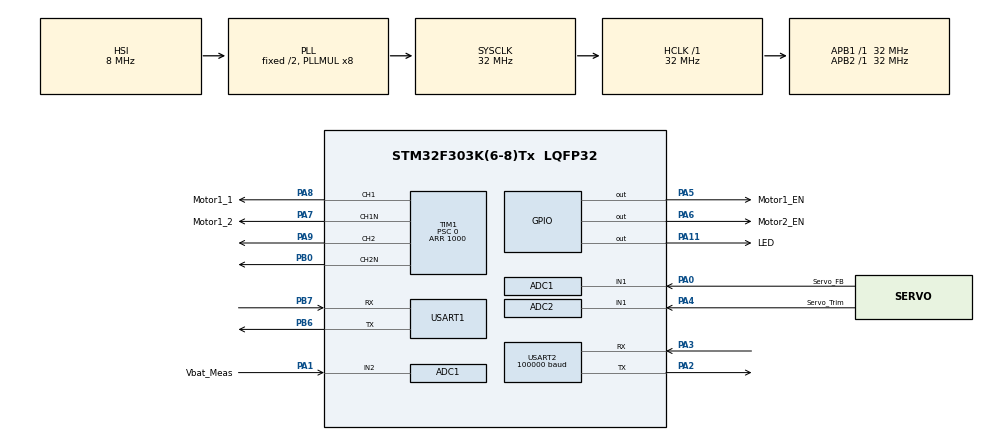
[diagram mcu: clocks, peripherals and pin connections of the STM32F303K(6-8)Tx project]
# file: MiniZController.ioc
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Mcu.Family=STM32F3
NVIC.ADC1_2_IRQn=true\:0\:0\:false\:false\:true\:true\:true
ADC2.ExternalTrigConv=ADC_EXTERNALTRIGCONV_T3_TRGO
RCC.CortexFreq_Value=32000000
TIM1.OCIdleState_1=TIM_OCIDLESTATE_RESET
USART2.RxPinLevelInvertParam=ADVFEATURE_RXINV_ENABLE
ADC1.ContinuousConvMode=DISABLE
ADC2.Channel-0\#ChannelRegularConversion=ADC_CHANNEL_1
USART2.Parity=PARITY_EVEN
RCC.SYSCLKSourceVirtual=RCC_SYSCLKSOURCE_PLLCLK
PA0.GPIO_Label=Servo_FB
PA6.GPIO_Label=Motor2_EN
ProjectManager.StackSize=0x400
TIM1.Pulse-PWM\ Generation2\ CH2\ CH2N=250
TIM1.Prescaler=0
PA4.Mode=IN1-Single-Ended
ADC2.DMAContinuousRequests=ENABLE
ADC1.Channel-3\#ChannelRegularConversion=ADC_CHANNEL_2
RCC.HCLKFreq_Value=32000000
RCC.APB2TimFreq_Value=32000000
TIM3.Period=1000
PB6.Signal=USART1_TX
Dma.ADC1.0.Direction=DMA_PERIPH_TO_MEMORY
ADC1.Channel-2\#ChannelRegularConversion=ADC_CHANNEL_1
PB6.Mode=Asynchronous
ADC1.SubFamily=STM32F303x8
ADC1.Offset-3\#ChannelRegularConversion=0
Dma.ADC1.0.MemDataAlignment=DMA_MDATAALIGN_WORD
RCC.AHBFreq_Value=32000000
RCC.HSE_VALUE=8000000
USART2.VirtualMode-Asynchronous=VM_ASYNC
RCC.PLLMUL=RCC_PLL_MUL8
Dma.ADC2.1.Instance=DMA1_Channel2
ADC1.Rank-2\#ChannelRegularConversion=1
PA14.Mode=Serial_Wire
TIM3.Prescaler=31
Dma.ADC1.0.PeriphInc=DMA_PINC_DISABLE
PA0.Mode=IN1-Single-Ended
PB7.Signal=USART1_RX
PA8.Signal=S_TIM1_CH1
Dma.ADC2.1.PeriphInc=DMA_PINC_DISABLE
ADC1.SamplingTimeOPAMP-3\#ChannelRegularConversion=ADC_SAMPLETIME_19CYCLES_5
VP_TIM1_VS_ClockSourceINT.Mode=Internal
PA0.Signal=ADC1_IN1
Mcu.Package=LQFP32
PA6.Signal=GPIO_Output
ADC2.Offset-0\#ChannelRegularConversion=0
ADC2.SamplingTime-0\#ChannelRegularConversion=ADC_SAMPLETIME_7CYCLES_5
USART2.WordLength=WORDLENGTH_9B
ADC2.SubFamily=STM32F303x8
TIM16.AutoReloadPreload=TIM_AUTORELOAD_PRELOAD_ENABLE
Dma.Request1=ADC2
RCC.APB1TimFreq_Value=32000000
TIM1.Period=1000
TIM16.Prescaler=31
ADC2.Rank-0\#ChannelRegularConversion=1
Dma.Request0=ADC1
PA4.GPIO_Label=Servo_Trim
Dma.ADC2.1.PeriphDataAlignment=DMA_PDATAALIGN_HALFWORD
VP_TIM3_VS_ClockSourceINT.Mode=Internal
PA3.Signal=USART2_RX
USART2.OverrunDisableParam=ADVFEATURE_OVERRUN_DISABLE
ADC2.SamplingTimeOPAMP-0\#ChannelRegularConversion=ADC_SAMPLETIME_4CYCLES_5
Dma.ADC1.0.Instance=DMA1_Channel1
PA7.Mode=PWM Generation1 CH1 CH1N
USART2.DMADisableonRxErrorParam=ADVFEATURE_DMA_DISABLEONRXERROR
ADC1.OffsetNumber-3\#ChannelRegularConversion=ADC_OFFSET_NONE
PA11.GPIO_Label=LED
VP_TIM16_VS_ClockSourceINT.Mode=Enable_Timer
TIM1.Channel-PWM\ Generation1\ CH1\ CH1N=TIM_CHANNEL_1
NVIC.USART2_IRQn=true\:0\:0\:false\:false\:true\:true\:true
USART2.BaudRate=100000
ADC1.SamplingTime-2\#ChannelRegularConversion=ADC_SAMPLETIME_7CYCLES_5
USART1.VirtualMode-Asynchronous=VM_ASYNC
PA13.Signal=SYS_JTMS-SWDIO
PA3.Mode=Asynchronous
TIM1.Channel-PWM\ Generation2\ CH2\ CH2N=TIM_CHANNEL_2
Dma.ADC1.0.PeriphDataAlignment=DMA_PDATAALIGN_HALFWORD
PA8.GPIO_Label=Motor1_1
SH.S_TIM1_CH1.0=TIM1_CH1,PWM Generation1 CH1 CH1N
NVIC.DMA1_Channel2_IRQn=true\:0\:0\:false\:false\:true\:false\:true
ProjectManager.TargetToolchain=STM32CubeIDE
Dma.ADC1.0.Mode=DMA_CIRCULAR
Dma.ADC1.0.Priority=DMA_PRIORITY_LOW
PA9.Signal=S_TIM1_CH2
ADC1.Offset-2\#ChannelRegularConversion=0
Dma.ADC2.1.Mode=DMA_CIRCULAR
PA1.Signal=ADC1_IN2
TIM3.Channel-PWM\ Generation1\ No\ Output=TIM_CHANNEL_1
PA5.Signal=GPIO_Output
TIM3.Pulse-PWM\ Generation1\ No\ Output=500
ADC2.OffsetNumber-0\#ChannelRegularConversion=ADC_OFFSET_NONE
PB0.Mode=PWM Generation2 CH2 CH2N
board=custom
VP_TIM3_VS_no_output1.Mode=PWM Generation1 No Output
NVIC.TIM3_IRQn=true\:0\:0\:false\:false\:true\:true\:true
TIM1.OCNIdleState_1=TIM_OCNIDLESTATE_SET
TIM16.Period=1000
RCC.APB2Freq_Value=32000000
PA1.Mode=IN2-Single-Ended
USART2.StopBits=STOPBITS_2
SH.S_TIM1_CH2.0=TIM1_CH2,PWM Generation2 CH2 CH2N
PA1.GPIO_Label=Vbat_Meas
ADC1.DMAContinuousRequests=ENABLE
Dma.ADC2.1.MemInc=DMA_MINC_ENABLE
ADC1.NbrOfConversion=2
ADC1.OffsetNumber-2\#ChannelRegularConversion=ADC_OFFSET_NONE
PA13.Mode=Serial_Wire
Mcu.Name=STM32F303K(6-8)Tx
PA2.Signal=USART2_TX
ADC1.ExternalTrigConv=ADC_EXTERNALTRIGCONV_T3_TRGO
PA4.Signal=ADC2_IN1
RCC.SYSCLKFreq_VALUE=32000000
Dma.ADC2.1.Direction=DMA_PERIPH_TO_MEMORY
PA7.GPIO_Label=Motor1_2
ADC1.master=1
PA5.GPIO_Label=Motor1_EN
ADC1.Rank-3\#ChannelRegularConversion=2
ADC1.SamplingTime-3\#ChannelRegularConversion=ADC_SAMPLETIME_7CYCLES_5
ADC2.NbrOfConversionFlag=1
PB7.Mode=Asynchronous
PA11.Signal=GPIO_Output
PA14.Signal=SYS_JTCK-SWCLK
Dma.ADC1.0.MemInc=DMA_MINC_ENABLE
ProjectManager.HeapSize=0x200
RCC.HSI_VALUE=8000000
NVIC.TIM1_UP_TIM16_IRQn=true\:0\:0\:false\:false\:true\:true\:true
NVIC.PriorityGroup=NVIC_PRIORITYGROUP_4
ADC1.NbrOfConversionFlag=1
Dma.ADC2.1.MemDataAlignment=DMA_MDATAALIGN_WORD
PA2.Mode=Asynchronous
Dma.ADC2.1.Priority=DMA_PRIORITY_LOW
NVIC.DMA1_Channel1_IRQn=true\:0\:0\:false\:false\:true\:false\:true
TIM3.TIM_MasterOutputTrigger=TIM_TRGO_UPDATE
RCC.APB1Freq_Value=32000000
USART2.Mode=MODE_RX
PB0.Signal=TIM1_CH2N
PA7.Signal=TIM1_CH1N

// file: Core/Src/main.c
/* USER CODE BEGIN Header */
/**
  ******************************************************************************
  * @file           : main.c
  * @brief          : Main program body
  ******************************************************************************
  * @attention
  *
  * <h2><center>&copy; Copyright (c) 2021 STMicroelectronics.
  * All rights reserved.</center></h2>
  *
  * This software component is licensed by ST under BSD 3-Clause license,
  * the "License"; You may not use this file except in compliance with the
  * License. You may obtain a copy of the License at:
  *                        opensource.org/licenses/BSD-3-Clause
  *
  ******************************************************************************
  */
/* USER CODE END Header */
#include "main.h"

/* USER CODE BEGIN Includes */
#include <sbus.h>
/* USER CODE END Includes */

/* USER CODE BEGIN PD */
#define VBAT_GAIN 0.008864f
#define MIN_CHANNEL_VALUE 500
#define MAX_CHANNEL_VALUE 2500
#define MAX_SERVO_SPEED_GAIN 0.5f	//between 0 and 1
#define MAX_MOTOR_SPEED_GAIN 0.75f	//between 0 and 1
#define MOTOR_OUT_DEADBAND 50 //Perthousand ==> If output value is in this region, deactivate for freewheeling
#define MOTOR_REVERSE

#define SERVO_KP 8.0f
#define SERVO_KI 0.00f
#define SERVO_KD 0.0f
#define SERVO_ITERM_CAPVALUE 3000.0f
#define SERVO_LOOPDURATION 0.001f //seconds
#define DIR_TRIM_BAND 200.0f
#define MIN_SERVO_VALUE 1750	//According to Min an Max values feedback ADC Can capture ==> Set channel to this range to avoid multiple conversions.
#define MAX_SERVO_VALUE 2500	//Ensure margin is enough to accomodate TrimGain

#define THROTTLE_NEUTRAL_VALUE 1200
#define THROTTLE_DEADBAND 100
#define THROTTLE_REVERSE_DELAY	1500 //ms

/* USER CODE END PD */

ADC_HandleTypeDef hadc1;
ADC_HandleTypeDef hadc2;
DMA_HandleTypeDef hdma_adc1;
DMA_HandleTypeDef hdma_adc2;

TIM_HandleTypeDef htim1;
TIM_HandleTypeDef htim3;
TIM_HandleTypeDef htim16;

UART_HandleTypeDef huart1;
UART_HandleTypeDef huart2;

/* USER CODE BEGIN PV */
uint32_t analogCapture1[2] = {0,0};
uint32_t analogCapture2[2] = {0,0};
float Servo_Feedback;
uint32_t Servo_Trim;
float BatteryVoltage=0.0;
uint32_t ServoSpeed=0;
uint8_t ServoDir=0;
uint8_t ServoEnable=0;

uint8_t gSBUSByte;
struct sbuschannels gSBUSChannels;
uint8_t FailSafe = 1;

uint8_t UpdateOutput = 0;

uint8_t FirstLoop = 1;
uint32_t ServoValue = 2000;
uint32_t Throttle = 0;
uint32_t Direction = 2000;
uint32_t MainMotorSpeed=0;
uint32_t MainMotorDir=0;
float dirTrimGain;
int32_t BrakeTimeout = -1;

/* USER CODE END PV */

void SystemClock_Config(void);
static void MX_GPIO_Init(void);
static void MX_DMA_Init(void);
static void MX_ADC1_Init(void);
static void MX_TIM1_Init(void);
static void MX_USART1_UART_Init(void);
static void MX_USART2_UART_Init(void);
static void MX_ADC2_Init(void);
static void MX_TIM3_Init(void);
static void MX_TIM16_Init(void);
/* USER CODE BEGIN PFP */

#ifdef __GNUC__
	#define PUTCHAR_PROTOTYPE int __io_putchar(int ch)
#else
	#define PUTCHAR_PROTOTYPE int fputc(int ch, FILE *f)
#endif

PUTCHAR_PROTOTYPE
{
	HAL_UART_Transmit(&huart2, (uint8_t *)&ch, 1, 0xFFFF);
}

void HAL_UART_RxCpltCallback(UART_HandleTypeDef *huart)
{
	if (huart == &huart2)
		{
			// Reset timeout
			__HAL_TIM_SET_COUNTER(&htim16, 0);

			// Add received byte to sbus FIFO
			SBUS_AddByte(gSBUSByte);

			// Available sbus frame ?

			if (SBUS_GetChannel(&gSBUSChannels) == FRAME_COMPLETE)
			{
				HAL_GPIO_WritePin(LED_GPIO_Port, LED_Pin, 1);
				Throttle = (int16_t)SBUS_NormalizeChannel(gSBUSChannels.Channel_2, MIN_CHANNEL_VALUE, MAX_CHANNEL_VALUE);
				Direction = (int16_t)SBUS_NormalizeChannel(gSBUSChannels.Channel_3, MIN_SERVO_VALUE, MAX_SERVO_VALUE);
				FailSafe = 0;
			}
			else
			{
				//FailSafe = 1;
			}
			// Restart IT
			HAL_UART_Receive_IT(huart, &gSBUSByte, 1);
		}
}

void HAL_TIM_PeriodElapsedCallback(TIM_HandleTypeDef *htim)
{
	if (htim == &htim16)
	{
		SBUS_TimeoutCallback();
		HAL_GPIO_TogglePin(LED_GPIO_Port, LED_Pin);
	}
	if (htim == &htim3)
	{
		if (BrakeTimeout >0) BrakeTimeout--;
		//HAL_GPIO_WritePin(LED_GPIO_Port, LED_Pin, 1);
	}

}
void HAL_TIM_PWM_PulseFinishedCallback(TIM_HandleTypeDef *htim)
{
	if (htim == &htim3)
	{
		//HAL_GPIO_WritePin(LED_GPIO_Port, LED_Pin, 0);
		UpdateOutput=1;
	}
}

float getVbat(uint32_t RawValue)
{
	return VBAT_GAIN*(float)RawValue;
}

void WriteMotorsSpeed(uint32_t ServoValue, uint8_t ServoDir, uint32_t MotorValue, uint8_t MotorDir)	//value is a per thousand value of max speed.
{
	uint32_t tmpccer;
	tmpccer = htim1.Instance->CCER; // Get the TIMx CCER register value

#ifdef MOTOR_REVERSE
	MotorDir = !MotorDir;
#endif

	if (MotorDir==0)
	{
		tmpccer &= ~TIM_CCER_CC1E;
		tmpccer |= TIM_CCER_CC1NE;
	}
	else if (MotorDir==1)
	{
		tmpccer &= ~TIM_CCER_CC1NE;
		tmpccer |= TIM_CCER_CC1E;
	}

	if (ServoDir==0)
	{
		tmpccer &= ~TIM_CCER_CC2E;
		tmpccer |= TIM_CCER_CC2NE;
	}
	else if (ServoDir==1)
	{
		tmpccer &= ~TIM_CCER_CC2NE;
		tmpccer |= TIM_CCER_CC2E;
	}

	float maxVal = (float)htim1.Instance->ARR*MAX_SERVO_SPEED_GAIN/1000.0f;
	if (MotorValue> MOTOR_OUT_DEADBAND)
	{
		MotorValue = (uint32_t)((float)MotorValue*maxVal);
	}
	else
	{
		MotorValue = 0;
	}

	ServoValue = (uint32_t)((float)ServoValue*maxVal);

	htim1.Instance->CCER = tmpccer;
	htim1.Instance->CCR1 = MotorValue;
	htim1.Instance->CCR2 = ServoValue;
}

#define THROTTLE_NEUTRAL_LOW THROTTLE_NEUTRAL_VALUE - THROTTLE_DEADBAND/2
#define THROTTLE_NEUTRAL_HIGH THROTTLE_NEUTRAL_VALUE + THROTTLE_DEADBAND/2

void NormalizeThrottle(uint32_t ChannelInput, uint32_t *SpeedOutput, uint32_t *DirOutput)
{
	if (ChannelInput < MIN_CHANNEL_VALUE || FailSafe)	//Failsafe
	{
		HAL_GPIO_WritePin(Motor1_EN_GPIO_Port, Motor1_EN_Pin, 0);
		*SpeedOutput = 0;
		*DirOutput = 0;
		return;
	}
	if (ChannelInput < THROTTLE_NEUTRAL_LOW)	//Braking
	{
		if (BrakeTimeout <0 )	//Trigger the timeout
		{
			BrakeTimeout = THROTTLE_REVERSE_DELAY;
			HAL_GPIO_WritePin(Motor1_EN_GPIO_Port, Motor1_EN_Pin, 1);
			*SpeedOutput = 0;
			*DirOutput = 0;
		}
		else if (BrakeTimeout == 0)	//if delay is ok, start reverse
		{
			*SpeedOutput = 500;	//Set reverse speed == TODO
			*DirOutput = 1;
		}
		else //Brake
		{
			HAL_GPIO_WritePin(Motor1_EN_GPIO_Port, Motor1_EN_Pin, 1);
			*SpeedOutput = 0;
			*DirOutput = 0;
		}
	}
	else if (ChannelInput > THROTTLE_NEUTRAL_HIGH)	//Accelerating
	{
		HAL_GPIO_WritePin(Motor1_EN_GPIO_Port, Motor1_EN_Pin, 1);
		BrakeTimeout = -1;
		*SpeedOutput = (uint32_t)((float)(ChannelInput-THROTTLE_NEUTRAL_HIGH)*1000.0f/(float)(MAX_CHANNEL_VALUE-THROTTLE_NEUTRAL_HIGH)); //Set forward speed == TODO
		*DirOutput = 0;

	}
	else //Freewheeling
	{
		BrakeTimeout = -1;
		HAL_GPIO_WritePin(Motor1_EN_GPIO_Port, Motor1_EN_Pin, 0);

		*SpeedOutput = 0;
		*DirOutput = 0;
	}
}

void UpdateServoPID(uint32_t *speed, uint8_t *dir)
{
	if (!ServoEnable)
	{
		*dir = 0;
		*speed = 0;
		return;
	}
	float Servo_Target = ServoValue;
	Servo_Feedback = analogCapture1[1];

	static uint32_t previousPosition;
	static float Iterm;

	if (FirstLoop)
	{
		FirstLoop = 0;
		previousPosition =Servo_Feedback;
		Iterm = 0;
	}

	float error = Servo_Target - Servo_Feedback;

	float Dterm = (Servo_Feedback - previousPosition)/SERVO_LOOPDURATION;
	Iterm += error;

	if (Iterm > SERVO_ITERM_CAPVALUE) Iterm = SERVO_ITERM_CAPVALUE;
	else if (Iterm < -SERVO_ITERM_CAPVALUE) Iterm = SERVO_ITERM_CAPVALUE;

	float out = error * SERVO_KP + Dterm * SERVO_KD + Iterm * SERVO_KI ;

	if (out < 0)
	{
		*dir = 0;
		*speed = -out;
	}
	else
	{
		*dir = 1;
		*speed = out;
	}
}

/* USER CODE END PFP */

int main(void)
{

  /* MCU Configuration--------------------------------------------------------*/

  /* Reset of all peripherals, Initializes the Flash interface and the Systick. */
  HAL_Init();

  /* Configure the system clock */
  SystemClock_Config();

  /* Initialize all configured peripherals */
  MX_GPIO_Init();
  MX_DMA_Init();
  MX_ADC1_Init();
  MX_TIM1_Init();
  MX_USART1_UART_Init();
  MX_USART2_UART_Init();
  MX_ADC2_Init();
  MX_TIM3_Init();
  MX_TIM16_Init();
  /* USER CODE BEGIN 2 */
  HAL_ADC_Start_DMA(&hadc1, analogCapture1, 2);
  HAL_ADC_Start_DMA(&hadc2, analogCapture2, 1);

  HAL_TIM_Base_Start_IT(&htim3);

  HAL_TIM_PWM_Start_IT(&htim3, TIM_CHANNEL_1);
  HAL_UART_Receive_IT(&huart2, &gSBUSByte, 1);
  HAL_TIM_Base_Start_IT(&htim16);

  HAL_TIM_Base_Start(&htim1);
  HAL_TIM_PWM_Start(&htim1, TIM_CHANNEL_1);
  HAL_TIM_PWM_Start(&htim1, TIM_CHANNEL_2);

  HAL_GPIO_WritePin(Motor2_EN_GPIO_Port, Motor2_EN_Pin, 1);
  WriteMotorsSpeed(0, 0, 0, 0);

  dirTrimGain = (float)DIR_TRIM_BAND/4095.0f;

  /* USER CODE END 2 */

  /* Infinite loop */
  /* USER CODE BEGIN WHILE */
  while (1)
  {

	  if (UpdateOutput ==1)
	  {
		  if (Direction > MIN_SERVO_VALUE && Direction < MAX_SERVO_VALUE && !FailSafe)
		  {
			  ServoValue = Direction + (uint32_t)((float)analogCapture2[0]*DIR_TRIM_BAND /4095.0f)-DIR_TRIM_BAND/2;
			  ServoEnable = 1;
		  }
		  else ServoEnable = 0;

		  if (ServoValue < MIN_SERVO_VALUE) ServoValue = MIN_SERVO_VALUE;
		  else if (ServoValue > MAX_SERVO_VALUE) ServoValue = MAX_SERVO_VALUE;

		  NormalizeThrottle(Throttle, &MainMotorSpeed, &MainMotorDir);

		  UpdateOutput=0;

		  UpdateServoPID(&ServoSpeed, &ServoDir);
		  WriteMotorsSpeed(ServoSpeed, ServoDir, MainMotorSpeed, MainMotorDir);
	  }
    /* USER CODE END WHILE */

  }
}

void SystemClock_Config(void)
{
  RCC_OscInitTypeDef RCC_OscInitStruct = {0};
  RCC_ClkInitTypeDef RCC_ClkInitStruct = {0};
  RCC_PeriphCLKInitTypeDef PeriphClkInit = {0};

  /** Initializes the RCC Oscillators according to the specified parameters
  * in the RCC_OscInitTypeDef structure.
  */
  RCC_OscInitStruct.OscillatorType = RCC_OSCILLATORTYPE_HSI;
  RCC_OscInitStruct.HSIState = RCC_HSI_ON;
  RCC_OscInitStruct.HSICalibrationValue = RCC_HSICALIBRATION_DEFAULT;
  RCC_OscInitStruct.PLL.PLLState = RCC_PLL_ON;
  RCC_OscInitStruct.PLL.PLLSource = RCC_PLLSOURCE_HSI;
  RCC_OscInitStruct.PLL.PLLMUL = RCC_PLL_MUL8;
  if (HAL_RCC_OscConfig(&RCC_OscInitStruct) != HAL_OK)
  {
    Error_Handler();
  }
  /** Initializes the CPU, AHB and APB buses clocks
  */
  RCC_ClkInitStruct.ClockType = RCC_CLOCKTYPE_HCLK|RCC_CLOCKTYPE_SYSCLK
                              |RCC_CLOCKTYPE_PCLK1|RCC_CLOCKTYPE_PCLK2;
  RCC_ClkInitStruct.SYSCLKSource = RCC_SYSCLKSOURCE_PLLCLK;
  RCC_ClkInitStruct.AHBCLKDivider = RCC_SYSCLK_DIV1;
  RCC_ClkInitStruct.APB1CLKDivider = RCC_HCLK_DIV1;
  RCC_ClkInitStruct.APB2CLKDivider = RCC_HCLK_DIV1;

  if (HAL_RCC_ClockConfig(&RCC_ClkInitStruct, FLASH_LATENCY_1) != HAL_OK)
  {
    Error_Handler();
  }
  PeriphClkInit.PeriphClockSelection = RCC_PERIPHCLK_USART1|RCC_PERIPHCLK_TIM1
                              |RCC_PERIPHCLK_ADC12;
  PeriphClkInit.Usart1ClockSelection = RCC_USART1CLKSOURCE_PCLK1;
  PeriphClkInit.Adc12ClockSelection = RCC_ADC12PLLCLK_DIV1;
  PeriphClkInit.Tim1ClockSelection = RCC_TIM1CLK_HCLK;
  if (HAL_RCCEx_PeriphCLKConfig(&PeriphClkInit) != HAL_OK)
  {
    Error_Handler();
  }
}

static void MX_ADC1_Init(void)
{

  ADC_MultiModeTypeDef multimode = {0};
  ADC_ChannelConfTypeDef sConfig = {0};

  /** Common config
  */
  hadc1.Instance = ADC1;
  hadc1.Init.ClockPrescaler = ADC_CLOCK_ASYNC_DIV1;
  hadc1.Init.Resolution = ADC_RESOLUTION_12B;
  hadc1.Init.ScanConvMode = ADC_SCAN_ENABLE;
  hadc1.Init.ContinuousConvMode = DISABLE;
  hadc1.Init.DiscontinuousConvMode = DISABLE;
  hadc1.Init.ExternalTrigConvEdge = ADC_EXTERNALTRIGCONVEDGE_RISING;
  hadc1.Init.ExternalTrigConv = ADC_EXTERNALTRIGCONV_T3_TRGO;
  hadc1.Init.DataAlign = ADC_DATAALIGN_RIGHT;
  hadc1.Init.NbrOfConversion = 2;
  hadc1.Init.DMAContinuousRequests = ENABLE;
  hadc1.Init.EOCSelection = ADC_EOC_SINGLE_CONV;
  hadc1.Init.LowPowerAutoWait = DISABLE;
  hadc1.Init.Overrun = ADC_OVR_DATA_OVERWRITTEN;
  if (HAL_ADC_Init(&hadc1) != HAL_OK)
  {
    Error_Handler();
  }
  /** Configure the ADC multi-mode
  */
  multimode.Mode = ADC_MODE_INDEPENDENT;
  if (HAL_ADCEx_MultiModeConfigChannel(&hadc1, &multimode) != HAL_OK)
  {
    Error_Handler();
  }
  /** Configure Regular Channel
  */
  sConfig.Channel = ADC_CHANNEL_1;
  sConfig.Rank = ADC_REGULAR_RANK_1;
  sConfig.SingleDiff = ADC_SINGLE_ENDED;
  sConfig.SamplingTime = ADC_SAMPLETIME_7CYCLES_5;
  sConfig.OffsetNumber = ADC_OFFSET_NONE;
  sConfig.Offset = 0;
  if (HAL_ADC_ConfigChannel(&hadc1, &sConfig) != HAL_OK)
  {
    Error_Handler();
  }
  /** Configure Regular Channel
  */
  sConfig.Channel = ADC_CHANNEL_2;
  sConfig.Rank = ADC_REGULAR_RANK_2;
  if (HAL_ADC_ConfigChannel(&hadc1, &sConfig) != HAL_OK)
  {
    Error_Handler();
  }

}

static void MX_ADC2_Init(void)
{

  ADC_ChannelConfTypeDef sConfig = {0};

  /** Common config
  */
  hadc2.Instance = ADC2;
  hadc2.Init.ClockPrescaler = ADC_CLOCK_ASYNC_DIV1;
  hadc2.Init.Resolution = ADC_RESOLUTION_12B;
  hadc2.Init.ScanConvMode = ADC_SCAN_DISABLE;
  hadc2.Init.ContinuousConvMode = DISABLE;
  hadc2.Init.DiscontinuousConvMode = DISABLE;
  hadc2.Init.ExternalTrigConvEdge = ADC_EXTERNALTRIGCONVEDGE_RISING;
  hadc2.Init.ExternalTrigConv = ADC_EXTERNALTRIGCONV_T3_TRGO;
  hadc2.Init.DataAlign = ADC_DATAALIGN_RIGHT;
  hadc2.Init.NbrOfConversion = 1;
  hadc2.Init.DMAContinuousRequests = ENABLE;
  hadc2.Init.EOCSelection = ADC_EOC_SINGLE_CONV;
  hadc2.Init.LowPowerAutoWait = DISABLE;
  hadc2.Init.Overrun = ADC_OVR_DATA_OVERWRITTEN;
  if (HAL_ADC_Init(&hadc2) != HAL_OK)
  {
    Error_Handler();
  }
  /** Configure Regular Channel
  */
  sConfig.Channel = ADC_CHANNEL_1;
  sConfig.Rank = ADC_REGULAR_RANK_1;
  sConfig.SingleDiff = ADC_SINGLE_ENDED;
  sConfig.SamplingTime = ADC_SAMPLETIME_7CYCLES_5;
  sConfig.OffsetNumber = ADC_OFFSET_NONE;
  sConfig.Offset = 0;
  if (HAL_ADC_ConfigChannel(&hadc2, &sConfig) != HAL_OK)
  {
    Error_Handler();
  }

}

static void MX_TIM1_Init(void)
{

  TIM_ClockConfigTypeDef sClockSourceConfig = {0};
  TIM_MasterConfigTypeDef sMasterConfig = {0};
  TIM_OC_InitTypeDef sConfigOC = {0};
  TIM_BreakDeadTimeConfigTypeDef sBreakDeadTimeConfig = {0};

  htim1.Instance = TIM1;
  htim1.Init.Prescaler = 0;
  htim1.Init.CounterMode = TIM_COUNTERMODE_UP;
  htim1.Init.Period = 1000;
  htim1.Init.ClockDivision = TIM_CLOCKDIVISION_DIV1;
  htim1.Init.RepetitionCounter = 0;
  htim1.Init.AutoReloadPreload = TIM_AUTORELOAD_PRELOAD_DISABLE;
  if (HAL_TIM_Base_Init(&htim1) != HAL_OK)
  {
    Error_Handler();
  }
  sClockSourceConfig.ClockSource = TIM_CLOCKSOURCE_INTERNAL;
  if (HAL_TIM_ConfigClockSource(&htim1, &sClockSourceConfig) != HAL_OK)
  {
    Error_Handler();
  }
  if (HAL_TIM_PWM_Init(&htim1) != HAL_OK)
  {
    Error_Handler();
  }
  sMasterConfig.MasterOutputTrigger = TIM_TRGO_RESET;
  sMasterConfig.MasterOutputTrigger2 = TIM_TRGO2_RESET;
  sMasterConfig.MasterSlaveMode = TIM_MASTERSLAVEMODE_DISABLE;
  if (HAL_TIMEx_MasterConfigSynchronization(&htim1, &sMasterConfig) != HAL_OK)
  {
    Error_Handler();
  }
  sConfigOC.OCMode = TIM_OCMODE_PWM1;
  sConfigOC.Pulse = 0;
  sConfigOC.OCPolarity = TIM_OCPOLARITY_HIGH;
  sConfigOC.OCNPolarity = TIM_OCNPOLARITY_HIGH;
  sConfigOC.OCFastMode = TIM_OCFAST_DISABLE;
  sConfigOC.OCIdleState = TIM_OCIDLESTATE_RESET;
  sConfigOC.OCNIdleState = TIM_OCNIDLESTATE_SET;
  if (HAL_TIM_PWM_ConfigChannel(&htim1, &sConfigOC, TIM_CHANNEL_1) != HAL_OK)
  {
    Error_Handler();
  }
  sConfigOC.Pulse = 250;
  sConfigOC.OCNIdleState = TIM_OCNIDLESTATE_RESET;
  if (HAL_TIM_PWM_ConfigChannel(&htim1, &sConfigOC, TIM_CHANNEL_2) != HAL_OK)
  {
    Error_Handler();
  }
  sBreakDeadTimeConfig.OffStateRunMode = TIM_OSSR_DISABLE;
  sBreakDeadTimeConfig.OffStateIDLEMode = TIM_OSSI_DISABLE;
  sBreakDeadTimeConfig.LockLevel = TIM_LOCKLEVEL_OFF;
  sBreakDeadTimeConfig.DeadTime = 0;
  sBreakDeadTimeConfig.BreakState = TIM_BREAK_DISABLE;
  sBreakDeadTimeConfig.BreakPolarity = TIM_BREAKPOLARITY_HIGH;
  sBreakDeadTimeConfig.BreakFilter = 0;
  sBreakDeadTimeConfig.Break2State = TIM_BREAK2_DISABLE;
  sBreakDeadTimeConfig.Break2Polarity = TIM_BREAK2POLARITY_HIGH;
  sBreakDeadTimeConfig.Break2Filter = 0;
  sBreakDeadTimeConfig.AutomaticOutput = TIM_AUTOMATICOUTPUT_DISABLE;
  if (HAL_TIMEx_ConfigBreakDeadTime(&htim1, &sBreakDeadTimeConfig) != HAL_OK)
  {
    Error_Handler();
  }
  HAL_TIM_MspPostInit(&htim1);

}

static void MX_TIM3_Init(void)
{

  TIM_ClockConfigTypeDef sClockSourceConfig = {0};
  TIM_MasterConfigTypeDef sMasterConfig = {0};
  TIM_OC_InitTypeDef sConfigOC = {0};

  htim3.Instance = TIM3;
  htim3.Init.Prescaler = 31;
  htim3.Init.CounterMode = TIM_COUNTERMODE_UP;
  htim3.Init.Period = 1000;
  htim3.Init.ClockDivision = TIM_CLOCKDIVISION_DIV1;
  htim3.Init.AutoReloadPreload = TIM_AUTORELOAD_PRELOAD_DISABLE;
  if (HAL_TIM_Base_Init(&htim3) != HAL_OK)
  {
    Error_Handler();
  }
  sClockSourceConfig.ClockSource = TIM_CLOCKSOURCE_INTERNAL;
  if (HAL_TIM_ConfigClockSource(&htim3, &sClockSourceConfig) != HAL_OK)
  {
    Error_Handler();
  }
  if (HAL_TIM_PWM_Init(&htim3) != HAL_OK)
  {
    Error_Handler();
  }
  sMasterConfig.MasterOutputTrigger = TIM_TRGO_UPDATE;
  sMasterConfig.MasterSlaveMode = TIM_MASTERSLAVEMODE_DISABLE;
  if (HAL_TIMEx_MasterConfigSynchronization(&htim3, &sMasterConfig) != HAL_OK)
  {
    Error_Handler();
  }
  sConfigOC.OCMode = TIM_OCMODE_PWM1;
  sConfigOC.Pulse = 500;
  sConfigOC.OCPolarity = TIM_OCPOLARITY_HIGH;
  sConfigOC.OCFastMode = TIM_OCFAST_DISABLE;
  if (HAL_TIM_PWM_ConfigChannel(&htim3, &sConfigOC, TIM_CHANNEL_1) != HAL_OK)
  {
    Error_Handler();
  }

}

static void MX_TIM16_Init(void)
{

  htim16.Instance = TIM16;
  htim16.Init.Prescaler = 31;
  htim16.Init.CounterMode = TIM_COUNTERMODE_UP;
  htim16.Init.Period = 1000;
  htim16.Init.ClockDivision = TIM_CLOCKDIVISION_DIV1;
  htim16.Init.RepetitionCounter = 0;
  htim16.Init.AutoReloadPreload = TIM_AUTORELOAD_PRELOAD_ENABLE;
  if (HAL_TIM_Base_Init(&htim16) != HAL_OK)
  {
    Error_Handler();
  }

}

static void MX_USART1_UART_Init(void)
{

  huart1.Instance = USART1;
  huart1.Init.BaudRate = 38400;
  huart1.Init.WordLength = UART_WORDLENGTH_8B;
  huart1.Init.StopBits = UART_STOPBITS_1;
  huart1.Init.Parity = UART_PARITY_NONE;
  huart1.Init.Mode = UART_MODE_TX_RX;
  huart1.Init.HwFlowCtl = UART_HWCONTROL_NONE;
  huart1.Init.OverSampling = UART_OVERSAMPLING_16;
  huart1.Init.OneBitSampling = UART_ONE_BIT_SAMPLE_DISABLE;
  huart1.AdvancedInit.AdvFeatureInit = UART_ADVFEATURE_NO_INIT;
  if (HAL_UART_Init(&huart1) != HAL_OK)
  {
    Error_Handler();
  }

}

static void MX_USART2_UART_Init(void)
{

  huart2.Instance = USART2;
  huart2.Init.BaudRate = 100000;
  huart2.Init.WordLength = UART_WORDLENGTH_9B;
  huart2.Init.StopBits = UART_STOPBITS_2;
  huart2.Init.Parity = UART_PARITY_EVEN;
  huart2.Init.Mode = UART_MODE_RX;
  huart2.Init.HwFlowCtl = UART_HWCONTROL_NONE;
  huart2.Init.OverSampling = UART_OVERSAMPLING_16;
  huart2.Init.OneBitSampling = UART_ONE_BIT_SAMPLE_DISABLE;
  huart2.AdvancedInit.AdvFeatureInit = UART_ADVFEATURE_RXINVERT_INIT|UART_ADVFEATURE_RXOVERRUNDISABLE_INIT
                              |UART_ADVFEATURE_DMADISABLEONERROR_INIT;
  huart2.AdvancedInit.RxPinLevelInvert = UART_ADVFEATURE_RXINV_ENABLE;
  huart2.AdvancedInit.OverrunDisable = UART_ADVFEATURE_OVERRUN_DISABLE;
  huart2.AdvancedInit.DMADisableonRxError = UART_ADVFEATURE_DMA_DISABLEONRXERROR;
  if (HAL_UART_Init(&huart2) != HAL_OK)
  {
    Error_Handler();
  }

}

static void MX_DMA_Init(void)
{

  /* DMA controller clock enable */
  __HAL_RCC_DMA1_CLK_ENABLE();

  /* DMA interrupt init */
  /* DMA1_Channel1_IRQn interrupt configuration */
  HAL_NVIC_SetPriority(DMA1_Channel1_IRQn, 0, 0);
  HAL_NVIC_EnableIRQ(DMA1_Channel1_IRQn);
  /* DMA1_Channel2_IRQn interrupt configuration */
  HAL_NVIC_SetPriority(DMA1_Channel2_IRQn, 0, 0);
  HAL_NVIC_EnableIRQ(DMA1_Channel2_IRQn);

}

static void MX_GPIO_Init(void)
{
  GPIO_InitTypeDef GPIO_InitStruct = {0};

  /* GPIO Ports Clock Enable */
  __HAL_RCC_GPIOA_CLK_ENABLE();
  __HAL_RCC_GPIOB_CLK_ENABLE();

  /*Configure GPIO pin Output Level */
  HAL_GPIO_WritePin(GPIOA, Motor1_EN_Pin|Motor2_EN_Pin|LED_Pin, GPIO_PIN_RESET);

  /*Configure GPIO pins : Motor1_EN_Pin Motor2_EN_Pin LED_Pin */
  GPIO_InitStruct.Pin = Motor1_EN_Pin|Motor2_EN_Pin|LED_Pin;
  GPIO_InitStruct.Mode = GPIO_MODE_OUTPUT_PP;
  GPIO_InitStruct.Pull = GPIO_NOPULL;
  GPIO_InitStruct.Speed = GPIO_SPEED_FREQ_LOW;
  HAL_GPIO_Init(GPIOA, &GPIO_InitStruct);

}

void Error_Handler(void)
{
  __disable_irq();
  while (1)
  {
  }
}

/************************ (C) COPYRIGHT STMicroelectronics *****END OF FILE****/
